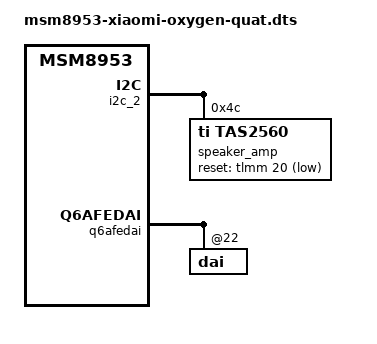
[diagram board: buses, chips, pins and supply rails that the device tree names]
// SPDX-License-Identifier: BSD-3-Clause
/*
 * TEST: plain oxygen DT (own ADSP firmware) + TAS2560 speaker amp on QUATERNARY MI2S RX,
 * like the upstream Lenovo ThinkSmart View (apq8053): Quaternary drives the same
 * pri_mi2s pads (88/91/93 + ws 92). Port 0x1006 avoids the SmartAmp hook (0x1016/7).
 * No camera test DT, no FastRPC node.
 */
#include "msm8953-xiaomi-oxygen.dts"

&i2c_2 {
	speaker_amp: audio-codec@4c {
		compatible = "ti,tas2560";
		reg = <0x4c>;
		#sound-dai-cells = <0>;

		reset-gpios = <&tlmm 20 GPIO_ACTIVE_LOW>;

		ti,load-ohms = <8>;
		ti,asi-channel = <2>;

		sound-name-prefix = "Speaker";
	};
};

&q6afedai {
	dai@22 {
		reg = <QUATERNARY_MI2S_RX>;
		qcom,sd-lines = <0>;
	};
};

&sound_card {
	pinctrl-0 = <&cdc_pdm_lines_act
		&cdc_pdm_lines_2_act
		&cdc_pdm_comp_lines_act
		&quin_mi2s_act>;
	pinctrl-1 = <&cdc_pdm_lines_sus
		&cdc_pdm_lines_2_sus
		&cdc_pdm_comp_lines_sus
		&quin_mi2s_sus>;

	quaternary-mi2s-dai-link {
		link-name = "Quaternary MI2S";

		cpu {
			sound-dai = <&q6afedai QUATERNARY_MI2S_RX>;
		};

		platform {
			sound-dai = <&q6routing>;
		};

		codec {
			sound-dai = <&speaker_amp>;
		};
	};
};

&tlmm {
	quin_mi2s_act: quin-mi2s-active-state {
		sck-data-pins {
			pins = "gpio88", "gpio91", "gpio93", "gpio94", "gpio95";
			function = "pri_mi2s";
			drive-strength = <8>;
			bias-disable;
		};

		ws-pins {
			pins = "gpio92";
			function = "pri_mi2s_ws";
			drive-strength = <8>;
			bias-disable;
		};
	};

	quin_mi2s_sus: quin-mi2s-sleep-state {
		sck-data-pins {
			pins = "gpio88", "gpio91", "gpio93", "gpio94", "gpio95";
			function = "pri_mi2s";
			drive-strength = <2>;
			bias-pull-down;
		};

		ws-pins {
			pins = "gpio92";
			function = "pri_mi2s_ws";
			drive-strength = <2>;
			bias-pull-down;
		};
	};
};
